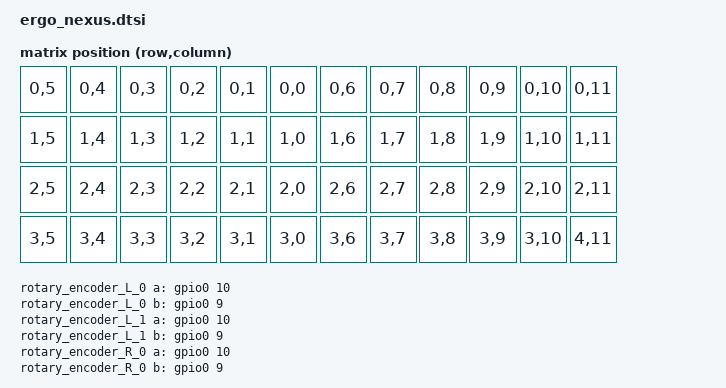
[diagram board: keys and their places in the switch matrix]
#include <dt-bindings/zmk/matrix_transform.h> // Put this with the other includes at the top of your dtsi

/ {
    chosen {
        zmk,physical-layout = &physical_layout0;
        // Other chosen items
    };
	
    physical_layout0: physical_layout_0 { // First physical layout, use different naming for other layouts
        compatible = "zmk,physical-layout";
        display-name = "Default Layout";
        kscan = <&kscan0>; // Label of the kscan node, optional if all layouts use the same
        transform = <&default_transform>; // Label of the matrix transform for this layout
    };
	
    default_transform: keymap_transform0 {
        compatible = "zmk,matrix-transform";
        columns = <12>;
        rows = <4>;
 // | K_L_16 | K_L_15 | K_L_14 | K_L_13 | K_L_12 | K_L_11 |   | K_R_11 | K_R_12 | K_R_13 | K_R_14 | K_R_15 | K_R_16 |
 // | K_L_26 | K_L_25 | K_L_24 | K_L_23 | K_L_22 | K_L_21 |   | K_R_21 | K_R_22 | K_R_23 | K_R_24 | K_R_25 | K_R_26 |
 // | K_L_36 | K_L_35 | K_L_34 | K_L_33 | K_L_32 | K_L_31 |   | K_R_31 | K_R_32 | K_R_33 | K_R_34 | K_R_35 | K_R_36 |
 // | K_L_46 | K_L_45 | K_L_44 | K_L_43 | K_L_42 | K_L_41 |   | K_R_41 | K_R_42 | K_R_43 | K_R_44 | K_R_45 | K_R_46 |
        map = <
RC(0,5) RC(0,4) RC(0,3) RC(0,2) RC(0,1) RC(0,0)     RC(0,6) RC(0,7) RC(0,8) RC(0,9) RC(0,10) RC(0,11)
RC(1,5) RC(1,4) RC(1,3) RC(1,2) RC(1,1) RC(1,0)     RC(1,6) RC(1,7) RC(1,8) RC(1,9) RC(1,10) RC(1,11)
RC(2,5) RC(2,4) RC(2,3) RC(2,2) RC(2,1) RC(2,0)     RC(2,6) RC(2,7) RC(2,8) RC(2,9) RC(2,10) RC(2,11)
RC(3,5) RC(3,4) RC(3,3) RC(3,2) RC(3,1) RC(3,0)     RC(3,6) RC(3,7) RC(3,8) RC(3,9) RC(3,10) RC(4,11)
        >;
    };
	
    kscan0: kscan0 {
        compatible = "zmk,kscan-gpio-matrix";
        diode-direction = "col2row";
        wakeup-source;
    };
    rotary_encoder_L_0: encoderL0 {
        compatible = "alps,ec11";
        a-gpios = <&gpio0 10 (GPIO_ACTIVE_HIGH | GPIO_PULL_UP)>;
        b-gpios = <&gpio0 9 (GPIO_ACTIVE_HIGH | GPIO_PULL_UP)>;
        steps = <24>;
    };
    rotary_encoder_L_1: encoderL1 {
        compatible = "alps,ec11";
        a-gpios = <&gpio0 10 (GPIO_ACTIVE_HIGH | GPIO_PULL_UP)>;
        b-gpios = <&gpio0 9 (GPIO_ACTIVE_HIGH | GPIO_PULL_UP)>;
        steps = <24>;
    };
    rotary_encoder_R_0: encoderR0 {
        compatible = "alps,ec11";
        a-gpios = <&gpio0 10 (GPIO_ACTIVE_HIGH | GPIO_PULL_UP)>;
        b-gpios = <&gpio0 9 (GPIO_ACTIVE_HIGH | GPIO_PULL_UP)>;
        steps = <24>;
    };
    rotary_encoder_R_1: encoderR1 {
        compatible = "alps,ec11";
        a-gpios = <&gpio0 10 (GPIO_ACTIVE_HIGH | GPIO_PULL_UP)>;
        b-gpios = <&gpio0 9 (GPIO_ACTIVE_HIGH | GPIO_PULL_UP)>;
        steps = <24>;
    };
    sensors: sensors {
        compatible = "zmk,keymap-sensors";
        sensors = <&rotary_encoder_L_0 &rotary_encoder_L_1 &rotary_encoder_R_0 &rotary_encoder_R_1>;
        triggers-per-rotation = <8>;
    };
};
